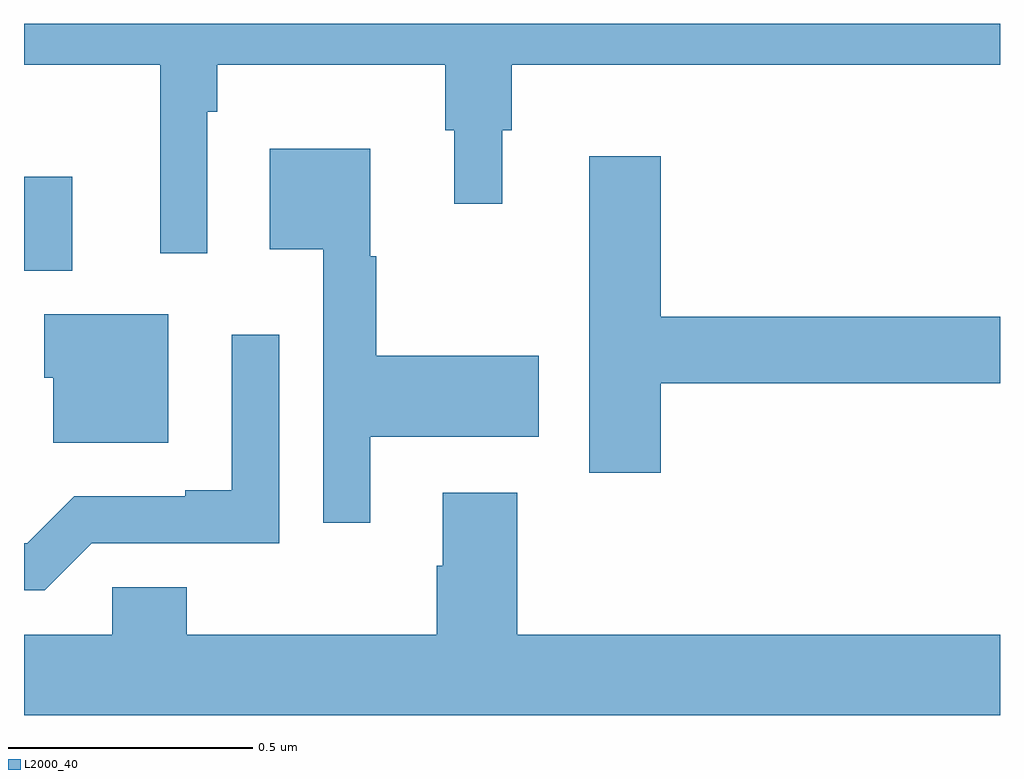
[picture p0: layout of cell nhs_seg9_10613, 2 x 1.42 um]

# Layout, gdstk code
import gdstk
lib = gdstk.Library(unit=1e-6, precision=1e-09)
def R(c, l, rs):  # rectangles x0, y0, x1, y1
    for r in rs: c.add(gdstk.rectangle(r[:2], r[2:], *l))
def P(c, l, *ps):  # polygons
    for p in ps: c.add(gdstk.Polygon(p, *l))
L2000_40 = (2000, 40)

nhs_seg9_10613 = lib.new_cell('nhs_seg9_10613')
R(nhs_seg9_10613, L2000_40, [(245,1199.994,245.099,1200.187)])
P(nhs_seg9_10613, L2000_40, [(245.376,1200.32),(245.396,1200.32),(245.396,1200.416),(245.863,1200.416),(245.863,1200.282),(245.882,1200.282),(245.882,1200.132),(245.98,1200.132),(245.98,1200.282),(245.999,1200.282),(245.999,1200.416),(247,1200.416),(247,1200.5),(245,1200.5),(245,1200.416),(245.279,1200.416),(245.279,1200.03),(245.376,1200.03)],
  [(245.71,1199.654),(246.055,1199.654),(246.055,1199.82),(245.722,1199.82),(245.722,1200.024),(245.71,1200.024),(245.71,1200.244),(245.504,1200.244),(245.504,1200.038),(245.613,1200.038),(245.613,1199.478),(245.71,1199.478)],
  [(246.305,1199.764),(247,1199.764),(247,1199.9),(246.305,1199.9),(246.305,1200.229),(246.158,1200.229),(246.158,1199.58),(246.305,1199.58)],
  [(245.296,1199.905),(245.042,1199.905),(245.042,1199.775),(245.06,1199.775),(245.06,1199.642),(245.296,1199.642)],
  [(245.139,1199.436),(245.523,1199.436),(245.523,1199.863),(245.426,1199.863),(245.426,1199.545),(245.33,1199.545),(245.33,1199.532),(245.103,1199.532),(245.007,1199.436),(245,1199.436),(245,1199.34),(245.043,1199.34)],
  [(247,1199.248),(246.011,1199.248),(246.011,1199.539),(245.858,1199.539),(245.858,1199.39),(245.846,1199.39),(245.846,1199.248),(245.333,1199.248),(245.333,1199.346),(245.181,1199.346),(245.181,1199.248),(245,1199.248),(245,1199.084),(247,1199.084)])

lib.write_gds('nhs_seg9_10613.gds')
